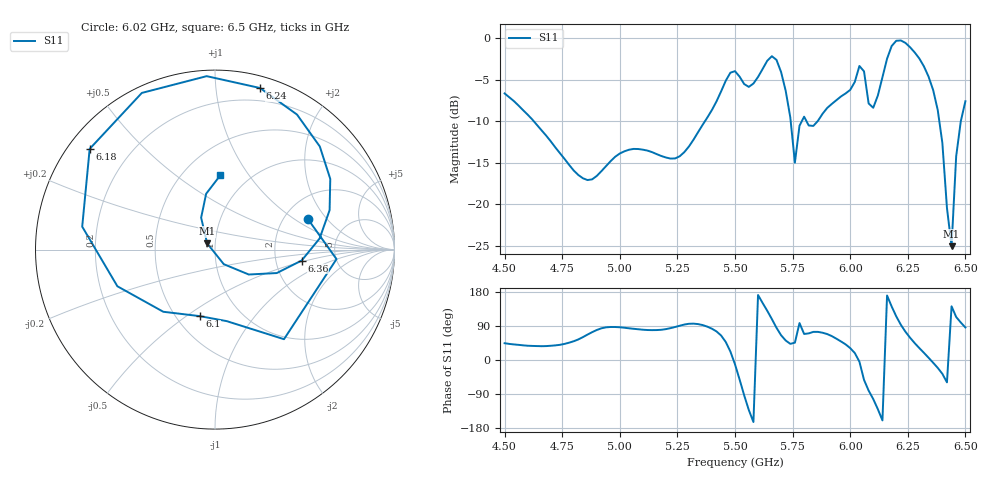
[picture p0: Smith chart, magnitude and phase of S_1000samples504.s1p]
! TOUCHSTONE file generated by CST MICROWAVE STUDIO
! Date and time: Fri Oct 28 09:44:34 2022
! Project name: L.cst
! Parameters = {Di=1.27; Epsilon_r=1.56; InnerDiameter=1.27; Length=2; Lf=10; Lg=60; OuterConductorThickness=0.2921; OuterDiameter=3.6; Wf=3; Wp=41.2; de=1.5; df=6.8; g=0.8; gx=0.782336; gy=1.11558; h=2.34; hf=1.524; px=11.5435; py=14.3459; w=9.7; wx=10.7612; wy=13.2303}
! Header version: 2018
! Port assignment regex: !\s*Touchstone port\s*([0-9]+)\s*=\s*(CST MWS port|CST DS port)\s*([0-9]+|Zmin|Zmax)\s*\(\"(.*)\"\)(\s*mode\s*([0-9]+))?.*
! Touchstone port assignment:
! Touchstone port 1 = CST MWS port 1 ("")
# GHz S DB R 50
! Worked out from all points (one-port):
!   101 points, 4.5 GHz to 6.5 GHz, reference 50 ohm
!   lowest |S11| = -25.1 dB at 6.44 GHz (marker M1), VSWR 1.12, Z = 45.7 + j3.17 ohm
!   |S11| at or under -10 dB: 4.626 GHz to 5.37 GHz (744 MHz wide, 14.9 % of centre); 5.742 GHz to 5.79 GHz (48.62 MHz wide, 0.843 % of centre); 6.387 GHz to 6.48 GHz (93.55 MHz wide, 1.45 % of centre) (the widest 3 of 4)
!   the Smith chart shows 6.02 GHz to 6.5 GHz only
!   S11 on the Smith chart (normalised r, x): 6.02 GHz: 2.67, +1.30; 6.1 GHz: 0.65, -0.56; 6.18 GHz: 0.06, +0.35; 6.24 GHz: 0.09, +1.31; 6.36 GHz: 2.81, -0.45; 6.5 GHz: 0.74, +0.75
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4.5  -6.67 44.3
4.76  -14.55 42.5
5  -13.91 86.4
5.26  -14.24 90.4
5.4  -8.66 82.5
5.46  -5.13 47.4
5.5  -3.99 -11.4
5.54  -5.54 -93.5
5.6  -4.68 171.5
5.66  -2.19 108.0
5.7  -4.09 65.4
5.76  -15.01 45.8
5.8  -9.47 68.7
6  -6.25 31.4
6.02  -5.28 18.4
6.04  -3.36 -4.5
6.06  -4.01 -52.4
6.1  -8.40 -103.0
6.14  -4.72 -159.4
6.18  -0.96 141.2
6.2  -0.32 115.0
6.24  -0.59 74.4
6.26  -1.11 58.7
6.3  -2.46 31.5
6.36  -6.26 -7.2
6.44  -25.07 141.7
6.46  -14.25 113.5
6.5  -7.61 85.8
